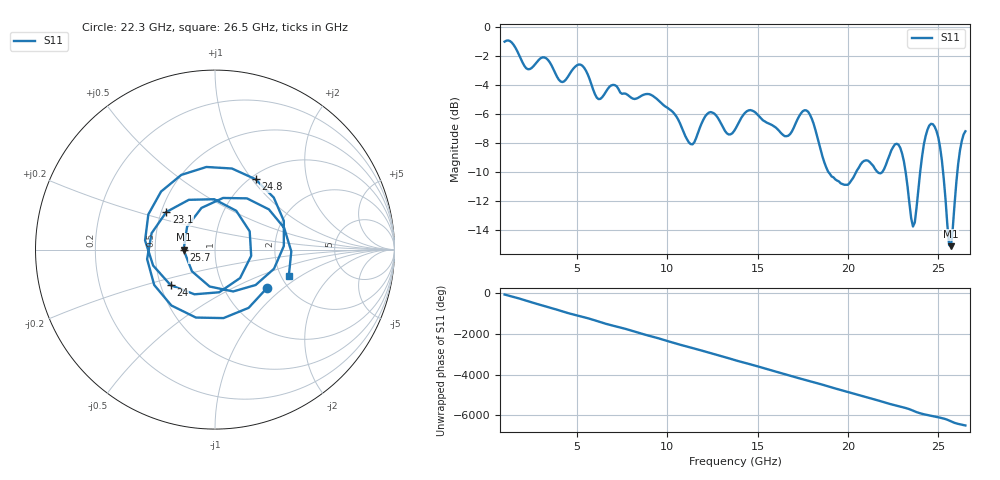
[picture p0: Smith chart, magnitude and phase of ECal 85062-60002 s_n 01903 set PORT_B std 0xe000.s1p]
!Created with skrf (http://scikit-rf.org).
# Hz S RI R 50.0
!freq ReS11 ImS11
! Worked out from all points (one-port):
!   256 points, 1 GHz to 26.5 GHz, reference 50 ohm
!   lowest |S11| = -15.1 dB at 25.7 GHz (marker M1), VSWR 1.42, Z = 35.1 - j0.0553 ohm
!   |S11| at or under -10 dB: 18.91 GHz to 20.46 GHz (1.555 GHz wide, 7.9 % of centre); 23.19 GHz to 24 GHz (808.9 MHz wide, 3.43 % of centre); 25.26 GHz to 26.06 GHz (793.9 MHz wide, 3.09 % of centre) (the widest 3 of 4)
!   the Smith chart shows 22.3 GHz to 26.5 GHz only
!   S11 on the Smith chart (normalised r, x): 22.3 GHz: 1.59, -0.78; 23.1 GHz: 0.53, +0.25; 24 GHz: 0.56, -0.25; 24.8 GHz: 1.06, +1.04; 25.7 GHz: 0.70, -0.00; 26.5 GHz: 2.20, -0.79
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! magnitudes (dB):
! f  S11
! 1 GHz  -1.0
! 3.3 GHz  -2.2
! 4.2 GHz  -3.8
! 5.2 GHz  -2.6
! 6.2 GHz  -5.0
! 7.4 GHz  -4.5
! 10.6 GHz  -6.4
! 11.3 GHz  -8.1
! 12.3 GHz  -5.9
! 13.8 GHz  -7.0
! 14.6 GHz  -5.7
! 17 GHz  -7.0
! 17.8 GHz  -5.9
! 18.9 GHz  -10.0
! 20.2 GHz  -10.6
! 22.3 GHz  -8.9
! 22.7 GHz  -8.1
! 23.1 GHz  -9.3
! 23.4 GHz  -12.2
! 23.7 GHz  -13.5
! 24 GHz  -10.0
! 24.4 GHz  -7.1
! 24.8 GHz  -6.9
! 25.2 GHz  -9.2
! 25.6 GHz  -15.1
! 25.7 GHz  -15.1
! 26.1 GHz  -9.5
! 26.5 GHz  -7.2
